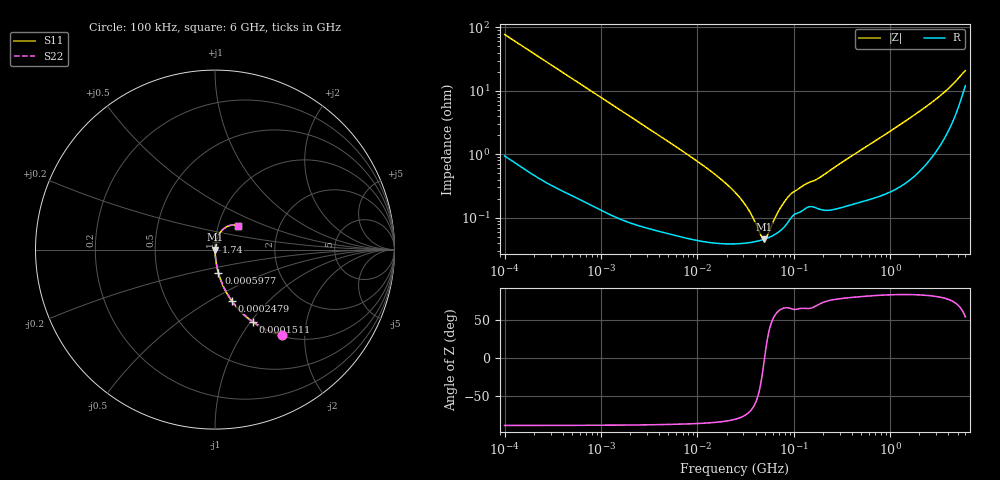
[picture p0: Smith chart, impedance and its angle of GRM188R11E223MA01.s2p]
!Murata Part Number: GRM188R11E223MA01
!These Parameters are Measured in Series Mode Connection
!Data Generated on Mar 30, 2021
!  o--ll--o
!Port1  Port2
!  o------o
!Operation Temp=25[degC], DC Bias Voltage=0[V]
!Freq. Start=100[kHz] Stop=6[GHz] 401[Steps]
# Hz S RI R 50
!Freq.(Hz) S11(Real) S11(Imag) S21(Real) S21(Imag) S12(Real) S12(Imag) S22(Real) S22(Imag)
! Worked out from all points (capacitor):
!   401 points, 100 kHz to 6 GHz, reference 50 ohm
!   read as one part in series: C = 20.5 nF near 105.7 kHz
!   lowest |Z| = 46 mohm at 48.72 MHz (marker M1)
!   series resonance near 49.6 MHz, so ESL is about 500 pH
!   S11 on the Smith chart (normalised r, x): 100 kHz: 1.02, -1.55; 151.1 kHz: 1.01, -1.03; 247.9 kHz: 1.01, -0.63; 597.7 kHz: 1.00, -0.26; 1.74 GHz: 1.01, +0.08; 6 GHz: 1.24, +0.34
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100000  0.3757 -0.4783  0.6243 0.4783  0.6243 0.4783  0.3757 -0.4783
151071  0.2115 -0.4024  0.7885 0.4024  0.7885 0.4024  0.2115 -0.4024
247855  0.0926 -0.2838  0.9074 0.2838  0.9074 0.2838  0.0926 -0.2838
597654  0.0187 -0.1283  0.9813 0.1283  0.9813 0.1283  0.0187 -0.1283
631452  0.0169 -0.1217  0.9831 0.1217  0.9831 0.1217  0.0169 -0.1217
1402027  0.00416 -0.0559  0.9958 0.0559  0.9958 0.0559  0.00416 -0.0559
3987316  0.001 -0.0198  0.999 0.0198  0.999 0.0198  0.001 -0.0198
1.337449e7  0.000437 -0.00558  0.9996 0.00558  0.9996 0.00558  0.000437 -0.00558
1.912349e7  0.000401 -0.00359  0.9996 0.00359  0.9996 0.00359  0.000401 -0.00359
2.517799e7  0.000393 -0.00238  0.9996 0.00238  0.9996 0.00238  0.000393 -0.00238
3.407377e7  0.000405 -0.00125  0.9996 0.00125  0.9996 0.00125  0.000405 -0.00125
4.486152e7  0.000439 -0.000329  0.9996 0.000329  0.9996 0.000329  0.000439 -0.000329
4.872031e7  0.000456 -5.84e-05  0.9995 5.84e-05  0.9995 5.84e-05  0.000456 -5.84e-05
5.291103e7  0.000476 0.000212  0.9995 -0.000212  0.9995 -0.000212  0.000476 0.000212
6.777267e7  0.000581 0.00105  0.9994 -0.00105  0.9994 -0.00105  0.000581 0.00105
8.680865e7  0.00085 0.00194  0.9991 -0.00194  0.9991 -0.00194  0.00085 0.00194
1.241232e8  0.00132 0.00291  0.9987 -0.00291  0.9987 -0.00291  0.00132 0.00291
1.546735e8  0.0015 0.00342  0.9985 -0.00342  0.9985 -0.00342  0.0015 0.00342
9.76689e8  0.003 0.0224  0.997 -0.0224  0.997 -0.0224  0.003 0.0224
1.74024e9  0.00599 0.0402  0.994 -0.0402  0.994 -0.0402  0.00599 0.0402
3.971646e9  0.0326 0.0993  0.9674 -0.0993  0.9674 -0.0993  0.0326 0.0993
6e9  0.1273 0.1314  0.8727 -0.1314  0.8727 -0.1314  0.1273 0.1314
